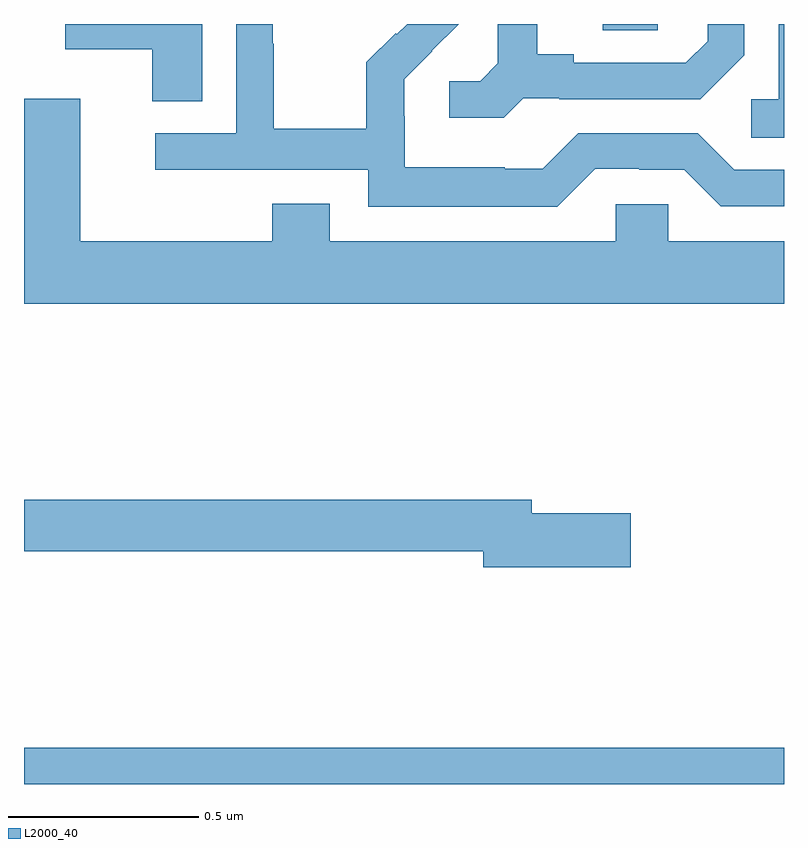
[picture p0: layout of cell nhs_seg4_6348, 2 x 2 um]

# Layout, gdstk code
import gdstk
lib = gdstk.Library(unit=1e-6, precision=1e-09)
def R(c, l, rs):  # rectangles x0, y0, x1, y1
    for r in rs: c.add(gdstk.rectangle(r[:2], r[2:], *l))
def P(c, l, *ps):  # polygons
    for p in ps: c.add(gdstk.Polygon(p, *l))
L2000_40 = (2000, 40)

nhs_seg4_6348 = lib.new_cell('nhs_seg4_6348')
R(nhs_seg4_6348, L2000_40, [(189,784.9,191,784.996), (190.523,786.883,190.668,786.9)])
P(nhs_seg4_6348, L2000_40, [(190.314,786.705),(190.408,786.705),(190.408,786.702),(190.78,786.702),(190.896,786.818),(190.896,786.9),(190.799,786.9),(190.799,786.855),(190.742,786.798),(190.447,786.798),(190.447,786.821),(190.351,786.821),(190.351,786.9),(190.247,786.9),(190.247,786.797),(190.2,786.75),(190.119,786.75),(190.119,786.653),(190.262,786.653)],
  [(189.469,786.9),(189.108,786.9),(189.108,786.833),(189.338,786.833),(189.338,786.697),(189.469,786.697)],
  [(190.503,786.519),(190.619,786.519),(190.619,786.516),(190.737,786.516),(190.833,786.42),(191,786.42),(191,786.516),(190.869,786.516),(190.773,786.612),(190.458,786.612),(190.365,786.519),(190.265,786.519),(190.265,786.523),(190.002,786.523),(190.002,786.657),(190,786.657),(190,786.754),(190.074,786.828),(190.073,786.829),(190.144,786.9),(190.008,786.9),(189.981,786.873),(189.978,786.876),(189.901,786.799),(189.901,786.625),(189.657,786.625),(189.657,786.848),(189.654,786.848),(189.654,786.9),(189.558,786.9),(189.558,786.612),(189.345,786.612),(189.345,786.516),(189.906,786.516),(189.906,786.419),(190.403,786.419)],
  [(191,786.9),(190.986,786.9),(190.986,786.702),(190.914,786.702),(190.914,786.601),(191,786.601)],
  [(191,786.328),(190.695,786.328),(190.695,786.426),(190.557,786.426),(190.557,786.328),(189.805,786.328),(189.805,786.427),(189.653,786.427),(189.653,786.328),(189.148,786.328),(189.148,786.703),(189,786.703),(189,786.164),(191,786.164)],
  [(190.597,785.612),(190.336,785.612),(190.336,785.648),(189,785.648),(189,785.512),(190.208,785.512),(190.208,785.47),(190.597,785.47)])

lib.write_gds('nhs_seg4_6348.gds')
